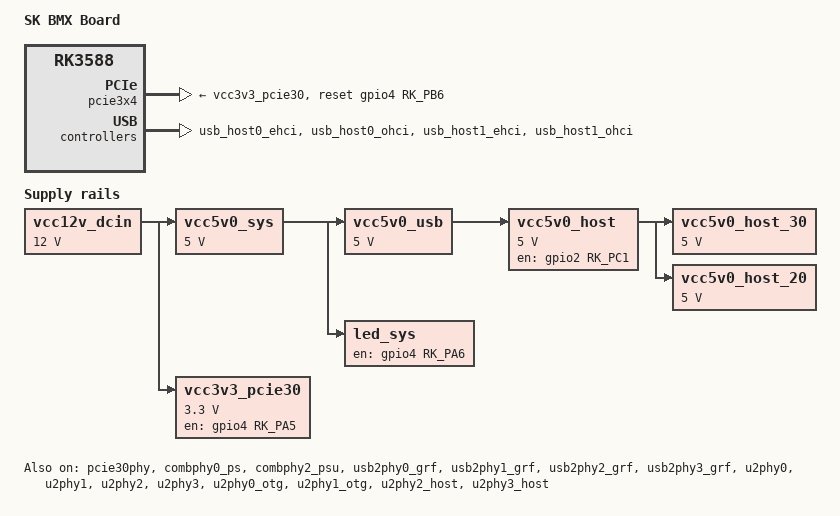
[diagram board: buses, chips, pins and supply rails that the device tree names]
// SPDX-License-Identifier: (GPL-2.0+ OR MIT)
/*
 * Copyright (c) 2021 Rockchip Electronics Co., Ltd
 *
 */

/dts-v1/;
#include "rk3588.dtsi"
#include "rk3588-u-boot.dtsi"
#include <dt-bindings/input/input.h>

/ {
    model = "SK BMX Board";
    compatible = "sk, bmx", "rockchip,rk3588";

	vcc12v_dcin: vcc12v-dcin {
		u-boot,dm-pre-reloc;
		compatible = "regulator-fixed";
		regulator-name = "vcc12v_dcin";
		regulator-always-on;
		regulator-boot-on;
		regulator-min-microvolt = <12000000>;
		regulator-max-microvolt = <12000000>;
	};

	vcc5v0_sys: vcc5v0-sys {
		u-boot,dm-pre-reloc;
		compatible = "regulator-fixed";
		regulator-name = "vcc5v0_sys";
		regulator-always-on;
		regulator-boot-on;
		regulator-min-microvolt = <5000000>;
		regulator-max-microvolt = <5000000>;
		vin-supply = <&vcc12v_dcin>;
	};

	vcc5v0_usb: vcc5v0-usb {
        u-boot,dm-pre-reloc;
		compatible = "regulator-fixed";
		regulator-name = "vcc5v0_usb";
		regulator-always-on;
		regulator-boot-on;
		regulator-min-microvolt = <5000000>;
		regulator-max-microvolt = <5000000>;
		vin-supply = <&vcc5v0_sys>;
	};

	vcc5v0_host_30: vcc5v0-host-30 {
		u-boot,dm-pre-reloc;
		compatible = "regulator-fixed";
		regulator-always-on;
		regulator-boot-on;
		regulator-name = "vcc5v0_host_30";
		regulator-min-microvolt = <5000000>;
		regulator-max-microvolt = <5000000>;
		vin-supply = <&vcc5v0_host>;
	};

	vcc5v0_host_20: vcc5v0-host-20 {
		u-boot,dm-pre-reloc;
		compatible = "regulator-fixed";
		regulator-always-on;
		regulator-boot-on;
		regulator-name = "vcc5v0_host_20";
		regulator-min-microvolt = <5000000>;
		regulator-max-microvolt = <5000000>;
		vin-supply = <&vcc5v0_host>;
	};

	vcc5v0_host: vcc5v0_host {
		u-boot,dm-pre-reloc;
		compatible = "regulator-fixed";
		enable-active-high;
		gpio = <&gpio2 RK_PC1 GPIO_ACTIVE_HIGH>;
		pinctrl-names = "default";
		pinctrl-0 = <&vcc5v0_host_en>;
		regulator-name = "vcc5v0_host";
		regulator-min-microvolt = <5000000>;
		regulator-max-microvolt = <5000000>;
		vin-supply = <&vcc5v0_usb>;
	};

	vcc3v3_pcie30: vcc3v3-pcie30 {
		u-boot,dm-pre-reloc;
		compatible = "regulator-fixed";
		regulator-name = "vcc3v3_pcie30";
		regulator-min-microvolt = <3300000>;
		regulator-max-microvolt = <3300000>;
		enable-active-high;
		gpio = <&gpio4 RK_PA5 GPIO_ACTIVE_HIGH>;
		regulator-boot-on;
		regulator-always-on;
		startup-delay-us = <50000>;
		vin-supply = <&vcc12v_dcin>;
	};

	led_sys: led-sys {
		u-boot,dm-pre-reloc;
		compatible = "regulator-fixed";
		regulator-name = "led_sys";
		enable-active-high;
		gpio = <&gpio4 RK_PA6 GPIO_ACTIVE_HIGH>; // Turn on user led
		regulator-boot-on;
		regulator-always-on;
		vin-supply = <&vcc5v0_sys>;
	};
};

&pcie30phy {
    status = "okay";
	u-boot,dm-pre-reloc;
};

&pcie3x4 {
    status = "okay";
	u-boot,dm-pre-reloc;
	vpcie3v3-supply = <&vcc3v3_pcie30>;
	reset-gpios = <&gpio4 RK_PB6 GPIO_ACTIVE_HIGH>;
};

&combphy0_ps {
    status = "okay";
	u-boot,dm-pre-reloc;
};

&combphy2_psu {
    status = "okay";
	u-boot,dm-pre-reloc;
};

&usb2phy0_grf {
	status = "okay";
	u-boot,dm-pre-reloc;
};

&usb2phy1_grf {
	status = "okay";
	u-boot,dm-pre-reloc;
};

&usb2phy2_grf {
	status = "okay";
	u-boot,dm-pre-reloc;
};

&usb2phy3_grf {
	status = "okay";
	u-boot,dm-pre-reloc;
};

&u2phy0 {
	status = "okay";
	u-boot,dm-pre-reloc;
};

&u2phy1 {
	status = "okay";
	u-boot,dm-pre-reloc;
};

&u2phy2 {
	status = "okay";
	u-boot,dm-pre-reloc;
};

&u2phy3 {
	status = "okay";
	u-boot,dm-pre-reloc;
};

&u2phy0_otg {
	status = "okay";
	u-boot,dm-pre-reloc;
};

&u2phy1_otg {
	status = "okay";
	u-boot,dm-pre-reloc;
};

&u2phy2_host {
	status = "okay";
	u-boot,dm-pre-reloc;
};

&u2phy3_host {
	status = "okay";
	u-boot,dm-pre-reloc;
};

&usb_host0_ehci {
	status = "okay";
	terminus_fe2: hub@1 {
		u-boot,dm-pre-reloc;
        reg = <1>;
        vbus-supply = <&vcc5v0_host_20>;
        reset-gpios = <&gpio3 RK_PB2 GPIO_ACTIVE_LOW>;
		pinctrl-names = "default";
        pinctrl-0 = <&hub_rst_gpio>;
    };
};

&usb_host0_ohci {
	status = "okay";
    u-boot,dm-pre-reloc;
};

&usb_host1_ehci {
	status = "okay";
    u-boot,dm-pre-reloc;
};

&usb_host1_ohci {
	status = "okay";
    u-boot,dm-pre-reloc;
};

&pinctrl {
	usb {
		u-boot,dm-pre-reloc;
		vcc5v0_host_en: vcc5v0-host-en {
			rockchip,pins = <2 RK_PC1 RK_FUNC_GPIO &pcfg_pull_none>;
		};

		hub_rst_gpio: hub-rst-gpio {
			rockchip,pins = <3 RK_PB2 RK_FUNC_GPIO &pcfg_pull_none>;
		};
	};
};
